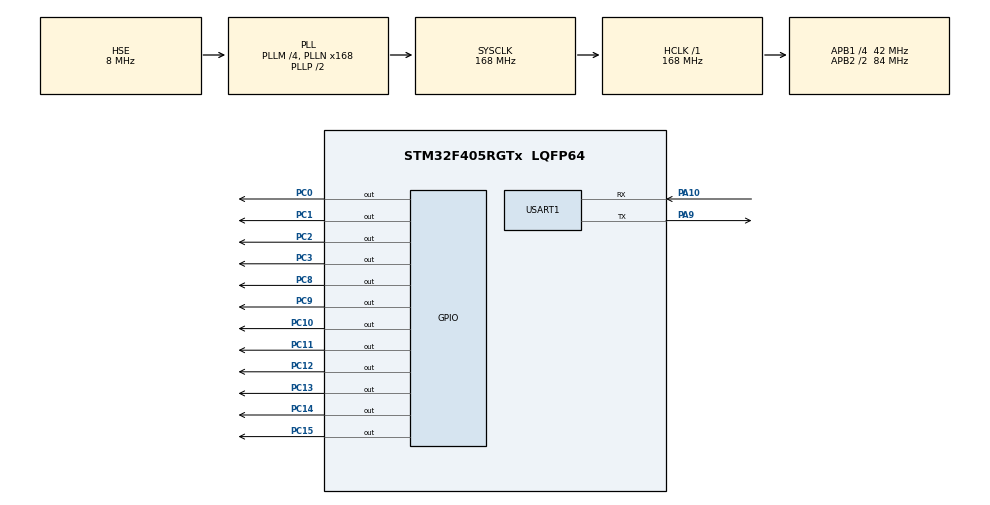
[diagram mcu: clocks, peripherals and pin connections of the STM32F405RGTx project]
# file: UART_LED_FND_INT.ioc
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Mcu.Family=STM32F4
Mcu.Name=STM32F405RGTx
Mcu.Package=LQFP64
NVIC.PriorityGroup=NVIC_PRIORITYGROUP_4
NVIC.USART1_IRQn=true\:0\:0\:false\:false\:true\:true\:true
PA10.Mode=Asynchronous
PA10.Signal=USART1_RX
PA13.Mode=Serial_Wire
PA13.Signal=SYS_JTMS-SWDIO
PA14.Mode=Serial_Wire
PA14.Signal=SYS_JTCK-SWCLK
PA9.Mode=Asynchronous
PA9.Signal=USART1_TX
PC0.Signal=GPIO_Output
PC1.Signal=GPIO_Output
PC10.Signal=GPIO_Output
PC11.Signal=GPIO_Output
PC12.Signal=GPIO_Output
PC13-ANTI_TAMP.Signal=GPIO_Output
PC14-OSC32_IN.Signal=GPIO_Output
PC15-OSC32_OUT.Signal=GPIO_Output
PC2.Signal=GPIO_Output
PC3.Signal=GPIO_Output
PC8.Signal=GPIO_Output
PC9.Signal=GPIO_Output
PH0-OSC_IN.Mode=HSE-External-Oscillator
PH0-OSC_IN.Signal=RCC_OSC_IN
PH1-OSC_OUT.Mode=HSE-External-Oscillator
PH1-OSC_OUT.Signal=RCC_OSC_OUT
ProjectManager.HeapSize=0x200
ProjectManager.StackSize=0x400
ProjectManager.TargetToolchain=EWARM V8.32
RCC.48MHZClocksFreq_Value=84000000
RCC.AHBFreq_Value=168000000
RCC.APB1CLKDivider=RCC_HCLK_DIV4
RCC.APB1Freq_Value=42000000
RCC.APB1TimFreq_Value=84000000
RCC.APB2CLKDivider=RCC_HCLK_DIV2
RCC.APB2Freq_Value=84000000
RCC.APB2TimFreq_Value=168000000
RCC.CortexFreq_Value=168000000
RCC.HCLKFreq_Value=168000000
RCC.HSE_VALUE=8000000
RCC.HSI_VALUE=16000000
RCC.LSE_VALUE=32768
RCC.PLLM=4
RCC.PLLN=168
RCC.PLLSourceVirtual=RCC_PLLSOURCE_HSE
RCC.SYSCLKFreq_VALUE=168000000
RCC.SYSCLKSource=RCC_SYSCLKSOURCE_PLLCLK
RCC.VCOOutputFreq_Value=336000000
USART1.VirtualMode=VM_ASYNC
board=custom

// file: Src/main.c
/* USER CODE BEGIN Header */
/**
  ******************************************************************************
  * @file           : main.c
  * @brief          : Main program body
  ******************************************************************************
  * @attention
  *
  * <h2><center>&copy; Copyright (c) 2020 STMicroelectronics.
  * All rights reserved.</center></h2>
  *
  * This software component is licensed by ST under BSD 3-Clause license,
  * the "License"; You may not use this file except in compliance with the
  * License. You may obtain a copy of the License at:
  *                        opensource.org/licenses/BSD-3-Clause
  *
  ******************************************************************************
  */
/* USER CODE END Header */

#include "main.h"
#include "usart.h"
#include "gpio.h"

/* USER CODE BEGIN PV */
uint8_t rxData;
uint8_t CountData;
/* USER CODE END PV */

void SystemClock_Config(void);

int main(void)
{

  /* MCU Configuration--------------------------------------------------------*/

  /* Reset of all peripherals, Initializes the Flash interface and the Systick. */
  HAL_Init();

  /* Configure the system clock */
  SystemClock_Config();

  /* Initialize all configured peripherals */
  MX_GPIO_Init();
  MX_USART1_UART_Init();
  /* USER CODE BEGIN 2 */
  HAL_UART_Receive_IT(&huart1, &rxData, 1);

  /* USER CODE END 2 */

  /* Infinite loop */
  /* USER CODE BEGIN WHILE */
  unsigned int FND_DATA_TBL [] = {0x3f00, 0x0600, 0x5b00, 0x4f00, 0x6600, 0x6d00,
                                0x7c00, 0x0700, 0x7f00, 0x6700, 0x7700, 0x7c00,
                                0x3900, 0x5e00, 0x7900, 0x7100, 0x0800, 0x8000};
  unsigned int LED_Data = 0x0010;

  unsigned char cnt = 0;
  while (1)
  {
    CountData = rxData;
    if(CountData == '1'){
      while(1){
        if(LED_Data == 0x0010) LED_Data = 0x0001;
        HAL_GPIO_WritePin(GPIOC, LED_Data, GPIO_PIN_SET);
        LED_Data <<= 1;
        HAL_Delay(500);
        HAL_GPIO_WritePin(GPIOC, 0x000f, GPIO_PIN_RESET);
        CountData = rxData;
        if(CountData == '2'){
          while(1){
            if(LED_Data == 0x0010) LED_Data = 0x0001;
            HAL_GPIO_WritePin(GPIOC, LED_Data, GPIO_PIN_SET);
            LED_Data <<= 1;
            HAL_GPIO_WritePin(GPIOC, FND_DATA_TBL[cnt], GPIO_PIN_SET);
            cnt++;
            HAL_Delay(500);
            HAL_GPIO_WritePin(GPIOC, 0xff00, GPIO_PIN_RESET);
            HAL_GPIO_WritePin(GPIOC, 0x000f, GPIO_PIN_RESET);
            if(cnt > 17) cnt = 0;
            CountData = rxData;
            if(CountData == '3'){
            HAL_GPIO_WritePin(GPIOC, 0xffff, GPIO_PIN_RESET);
            break;
            }
          }
        }
        if(CountData == '3'){
        HAL_GPIO_WritePin(GPIOC, 0xffff, GPIO_PIN_RESET);
        break;
       }
      }
    }

    if(CountData == '2'){

      while(1){
        HAL_GPIO_WritePin(GPIOC, FND_DATA_TBL[cnt], GPIO_PIN_SET);
        cnt++;
        HAL_Delay(500);
        if(cnt > 17) cnt = 0;
        CountData = rxData;
        if(CountData == '1'){
            while(1){
            if(LED_Data == 0x0010) LED_Data = 0x0001;
            HAL_GPIO_WritePin(GPIOC, LED_Data, GPIO_PIN_SET);
            LED_Data <<= 1;
            HAL_GPIO_WritePin(GPIOC, FND_DATA_TBL[cnt], GPIO_PIN_SET);
            cnt++;
            HAL_Delay(500);
            HAL_GPIO_WritePin(GPIOC, 0xff00, GPIO_PIN_RESET);
            HAL_GPIO_WritePin(GPIOC, 0x000f, GPIO_PIN_RESET);
            if(cnt > 17) cnt = 0;
            CountData = rxData;
            if(CountData == '3'){
              HAL_GPIO_WritePin(GPIOC, 0xffff, GPIO_PIN_RESET);
              break;
            }
          }
        }
        HAL_GPIO_WritePin(GPIOC, 0xff00, GPIO_PIN_RESET);
        if(rxData == '3'){
        HAL_GPIO_WritePin(GPIOC, 0xffff, GPIO_PIN_RESET);
        break;
        }
      }
    }

    if(rxData == '3'){
    HAL_GPIO_WritePin(GPIOC, 0xffff, GPIO_PIN_RESET);
    }

    /* USER CODE END WHILE */
  }
}

void SystemClock_Config(void)
{
  RCC_OscInitTypeDef RCC_OscInitStruct = {0};
  RCC_ClkInitTypeDef RCC_ClkInitStruct = {0};

  /** Configure the main internal regulator output voltage
  */
  __HAL_RCC_PWR_CLK_ENABLE();
  __HAL_PWR_VOLTAGESCALING_CONFIG(PWR_REGULATOR_VOLTAGE_SCALE1);
  /** Initializes the CPU, AHB and APB busses clocks
  */
  RCC_OscInitStruct.OscillatorType = RCC_OSCILLATORTYPE_HSE;
  RCC_OscInitStruct.HSEState = RCC_HSE_ON;
  RCC_OscInitStruct.PLL.PLLState = RCC_PLL_ON;
  RCC_OscInitStruct.PLL.PLLSource = RCC_PLLSOURCE_HSE;
  RCC_OscInitStruct.PLL.PLLM = 4;
  RCC_OscInitStruct.PLL.PLLN = 168;
  RCC_OscInitStruct.PLL.PLLP = RCC_PLLP_DIV2;
  RCC_OscInitStruct.PLL.PLLQ = 4;
  if (HAL_RCC_OscConfig(&RCC_OscInitStruct) != HAL_OK)
  {
    Error_Handler();
  }
  /** Initializes the CPU, AHB and APB busses clocks
  */
  RCC_ClkInitStruct.ClockType = RCC_CLOCKTYPE_HCLK|RCC_CLOCKTYPE_SYSCLK
                              |RCC_CLOCKTYPE_PCLK1|RCC_CLOCKTYPE_PCLK2;
  RCC_ClkInitStruct.SYSCLKSource = RCC_SYSCLKSOURCE_PLLCLK;
  RCC_ClkInitStruct.AHBCLKDivider = RCC_SYSCLK_DIV1;
  RCC_ClkInitStruct.APB1CLKDivider = RCC_HCLK_DIV4;
  RCC_ClkInitStruct.APB2CLKDivider = RCC_HCLK_DIV2;

  if (HAL_RCC_ClockConfig(&RCC_ClkInitStruct, FLASH_LATENCY_5) != HAL_OK)
  {
    Error_Handler();
  }
}

/* USER CODE BEGIN 4 */
void HAL_UART_RxCpltCallback(UART_HandleTypeDef *huart)
{
  if(huart->Instance == USART1) {
    HAL_UART_Receive_IT(&huart1, &rxData, 1);
    HAL_UART_Transmit(&huart1, &rxData, 1, 10);
  }
}

void Reset(){
  HAL_GPIO_WritePin(GPIOC, 0xffff, GPIO_PIN_RESET);
}

/* USER CODE END 4 */

void Error_Handler(void)
{
}

/************************ (C) COPYRIGHT STMicroelectronics *****END OF FILE****/
